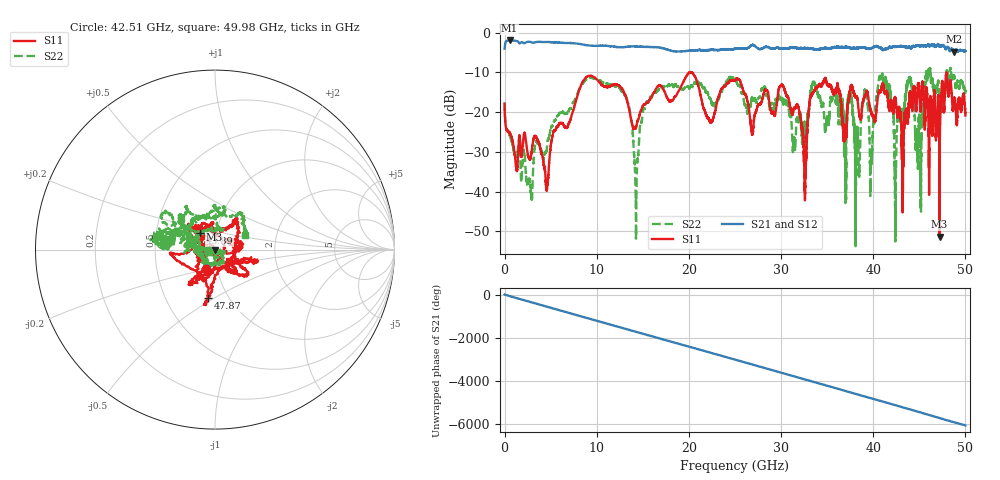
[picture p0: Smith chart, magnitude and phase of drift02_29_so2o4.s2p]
!Created with skrf (http://scikit-rf.org).
# Hz S RI R 50.0
!freq ReS11 ImS11 ReS21 ImS21 ReS12 ImS12 ReS22 ImS22
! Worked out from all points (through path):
!   10001 points, 300 kHz to 50 GHz, reference 50 ohm
!   highest |S21| = -1.99 dB at 540.3 MHz (marker M1); lowest = -4.8 dB at 48.77 GHz (marker M2)
!   group delay of S21, straight-line fit = 337 ps
!   lowest |S11| = -51.3 dB at 47.2 GHz (marker M3), VSWR 1.01, Z = 49.7 + j0.0118 ohm
!   |S11| at or under -10 dB: start of sweep to 20.06 GHz; 20.20773 GHz to 20.22236 GHz (14.63 MHz wide, 0.0724 % of centre); 20.24 GHz to end of sweep (the widest 3 of 4)
!   |S22| runs from -53.7 to -8.8 dB; largest |S21 - S12| = 0.032
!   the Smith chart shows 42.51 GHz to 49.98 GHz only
!   S11 on the Smith chart (normalised r, x): 42.51 GHz: 0.89, -0.19; 43.89 GHz: 0.83, +0.15; 47.87 GHz: 0.80, -0.47; 49.98 GHz: 1.15, -0.15
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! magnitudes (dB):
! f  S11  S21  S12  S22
! 300 kHz  -17.9  -4.1  -4.0  -17.5
! 540.3 MHz  -25.1  -2.0  -2.0  -25.8
! 4.565 GHz  -39.8  -2.4  -2.4  -29.5
! 8.335 GHz  -13.0  -2.9  -2.9  -13.3
! 13.01 GHz  -15.3  -3.6  -3.6  -15.6
! 14.28 GHz  -23.7  -3.5  -3.5  -48.6
! 16.67 GHz  -13.4  -3.7  -3.7  -14.5
! 25 GHz  -12.1  -4.1  -4.1  -12.1
! 32.56 GHz  -39.9  -3.9  -4.0  -23.4
! 33.34 GHz  -15.8  -4.0  -4.1  -13.5
! 37.51 GHz  -14.1  -3.8  -3.8  -15.7
! 38.29 GHz  -16.9  -3.9  -3.9  -24.0
! 41.67 GHz  -18.4  -3.8  -3.9  -13.2
! 42.51 GHz  -18.7  -3.5  -3.6  -29.2
! 43.89 GHz  -18.1  -3.6  -3.6  -11.8
! 44.99 GHz  -14.6  -3.4  -3.3  -20.6
! 45.91 GHz  -17.8  -3.2  -3.2  -10.7
! 47.2 GHz  -51.3  -3.4  -3.5  -17.2
! 47.87 GHz  -11.3  -4.1  -4.0  -13.1
! 48.77 GHz  -17.0  -4.8  -4.8  -10.9
! 49.98 GHz  -20.1  -4.6  -4.6  -14.6
! 50 GHz  -20.9  -4.7  -4.6  -15.0
